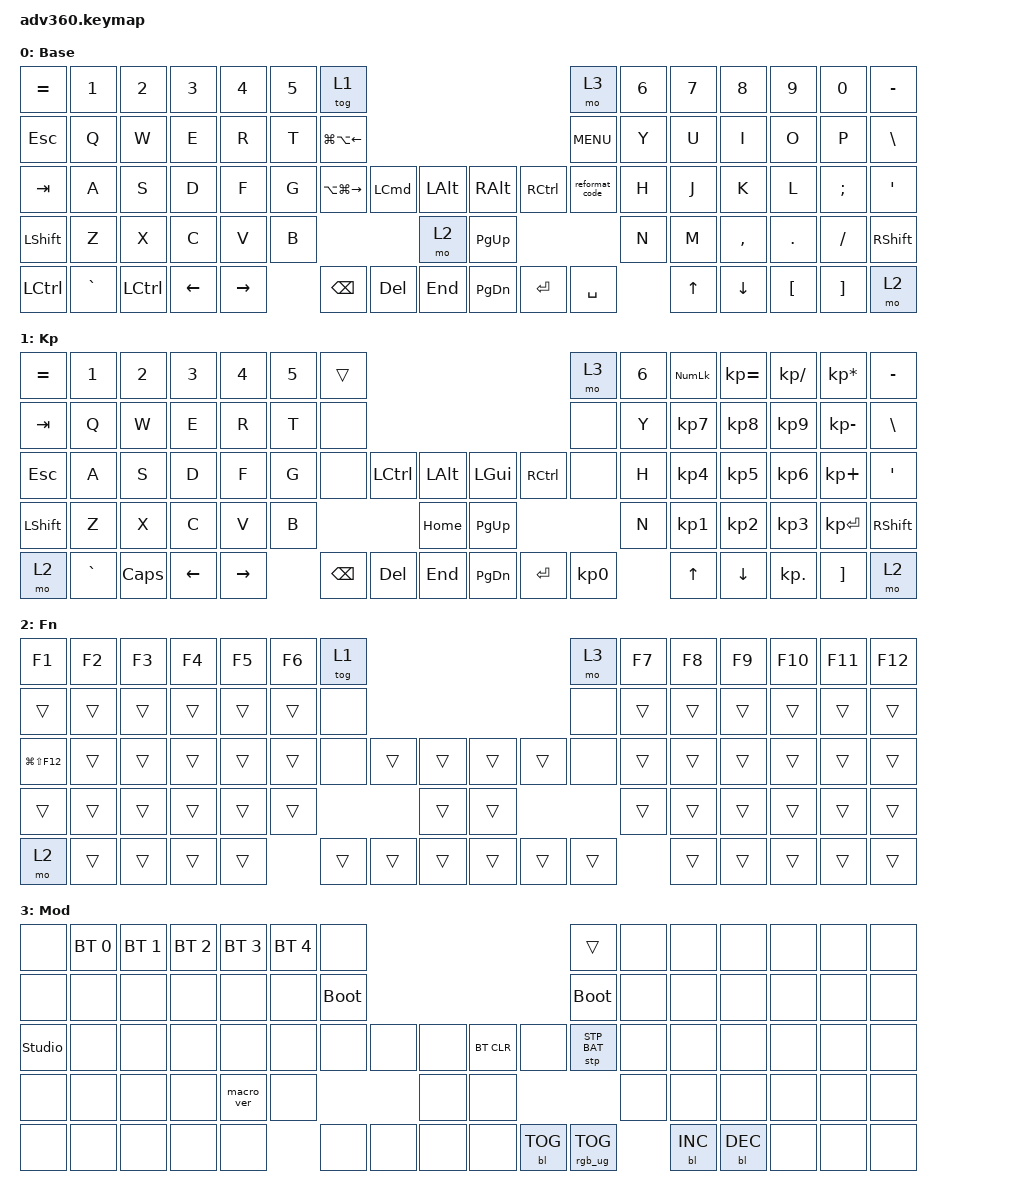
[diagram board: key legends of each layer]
#include <dt-bindings/zmk/stp.h>
#include <behaviors.dtsi>
#include <dt-bindings/zmk/backlight.h>
#include <dt-bindings/zmk/bt.h>
#include <dt-bindings/zmk/keys.h>
#include <dt-bindings/zmk/rgb.h>

/ {
    behaviors {
        #include "macros.dtsi"
      #include "version.dtsi"

        hm: homerow_mods {
            compatible = "zmk,behavior-hold-tap";
            label = "HOMEROW_MODS";
            #binding-cells = <2>;
            tapping-term-ms = <200>;
            quick_tap_ms = <175>;
            flavor = "tap-preferred";
            bindings = <&kp>, <&kp>;
        };

        hold_tap_behavior: hold_tap_behavior {
            compatible = "zmk,behavior-hold-tap";
            label = "HOLD_TAP_BEHAVIOR";
            bindings = <&kp>, <&kp>;

            #binding-cells = <2>;
            tapping-term-ms = <200>;
        };
    };

    macros {
        control_tab: control_tab {
            compatible = "zmk,behavior-macro";
            #binding-cells = <0>;
            bindings = <&hold_tap_behavior LEFT_CONTROL TAB>;
            label = "CONTROL_TAB";
        };

        reformat_code: reformat_code {
            compatible = "zmk,behavior-macro";
            #binding-cells = <0>;
            bindings = <&kp LA(LG(L))>;
            label = "REFORMAT_CODE";
        };
    };

    keymap {
        compatible = "zmk,keymap";

        default_layer {
            display-name = "Base";
            bindings = <
&kp EQUAL         &kp N1     &kp N2     &kp N3    &kp N4     &kp N5  &tog 1                                                                       &mo 3           &kp N6  &kp N7  &kp N8     &kp N9    &kp N0    &kp MINUS
&kp ESCAPE        &kp Q      &kp W      &kp E     &kp R      &kp T   &kp LG(LA(LEFT))                                                             &kp C_MENU      &kp Y   &kp U   &kp I      &kp O     &kp P     &kp BSLH
&kp TAB           &kp A      &kp S      &kp D     &kp F      &kp G   &kp LA(LG(RIGHT))  &kp LEFT_COMMAND  &kp LALT      &kp RIGHT_ALT  &kp RCTRL  &reformat_code  &kp H   &kp J   &kp K      &kp L     &kp SEMI  &kp SQT
&kp LSHFT         &kp Z      &kp X      &kp C     &kp V      &kp B                                        &mo 2         &kp PG_UP                                 &kp N   &kp M   &kp COMMA  &kp DOT   &kp FSLH  &kp RSHFT
&kp LEFT_CONTROL  &kp GRAVE  &kp LCTRL  &kp LEFT  &kp RIGHT          &kp BSPC           &kp DEL           &kp END       &kp PG_DN      &kp ENTER  &kp SPACE               &kp UP  &kp DOWN   &kp LBKT  &kp RBKT  &mo 2
            >;
        };

        keypad {
            display-name = "Kp";
            bindings = <
&kp EQUAL  &kp N1     &kp N2    &kp N3    &kp N4     &kp N5  &trans                                                   &mo 3      &kp N6  &kp KP_NUM  &kp KP_EQUAL  &kp KP_DIVIDE  &kp KP_MULTIPLY  &kp MINUS
&kp TAB    &kp Q      &kp W     &kp E     &kp R      &kp T   &none                                                    &none      &kp Y   &kp KP_N7   &kp KP_N8     &kp KP_N9      &kp KP_MINUS     &kp BSLH
&kp ESC    &kp A      &kp S     &kp D     &kp F      &kp G   &none     &kp LCTRL  &kp LALT      &kp LGUI   &kp RCTRL  &none      &kp H   &kp KP_N4   &kp KP_N5     &kp KP_N6      &kp KP_PLUS      &kp SQT
&kp LSHFT  &kp Z      &kp X     &kp C     &kp V      &kp B                        &kp HOME      &kp PG_UP                        &kp N   &kp KP_N1   &kp KP_N2     &kp KP_N3      &kp KP_ENTER     &kp RSHFT
&mo 2      &kp GRAVE  &kp CAPS  &kp LEFT  &kp RIGHT          &kp BSPC  &kp DEL    &kp END       &kp PG_DN  &kp ENTER  &kp KP_N0          &kp UP      &kp DOWN      &kp KP_DOT     &kp RBKT         &mo 2
            >;
        };

        fn {
            display-name = "Fn";
            bindings = <
&kp F1           &kp F2  &kp F3  &kp F4  &kp F5  &kp F6  &tog 1                                      &mo 3   &kp F7  &kp F8  &kp F9  &kp F10  &kp F11  &kp F12
&trans           &trans  &trans  &trans  &trans  &trans  &none                                       &none   &trans  &trans  &trans  &trans   &trans   &trans
&kp LG(LS(F12))  &trans  &trans  &trans  &trans  &trans  &none   &trans  &trans      &trans  &trans  &none   &trans  &trans  &trans  &trans   &trans   &trans
&trans           &trans  &trans  &trans  &trans  &trans                  &trans      &trans                  &trans  &trans  &trans  &trans   &trans   &trans
&mo 2            &trans  &trans  &trans  &trans          &trans  &trans  &trans      &trans  &trans  &trans          &trans  &trans  &trans   &trans   &trans
            >;
        };

        mod {
            display-name = "Mod";
            bindings = <
&none           &bt BT_SEL 0  &bt BT_SEL 1  &bt BT_SEL 2  &bt BT_SEL 3  &bt BT_SEL 4  &none                                                  &trans           &none  &none       &none       &none  &none  &none
&none           &none         &none         &none         &none         &none         &bootloader                                            &bootloader      &none  &none       &none       &none  &none  &none
&studio_unlock  &none         &none         &none         &none         &none         &none        &none  &none      &bt BT_CLR  &none       &stp STP_BAT     &none  &none       &none       &none  &none  &none
&none           &none         &none         &none         &macro_ver    &none                             &none      &none                                    &none  &none       &none       &none  &none  &none
&none           &none         &none         &none         &none                       &none        &none  &none      &none       &bl BL_TOG  &rgb_ug RGB_TOG         &bl BL_INC  &bl BL_DEC  &none  &none  &none
            >;
        };

        extra1 {
            display-name = "Red";
            status = "reserved";
        };

        extra2 {
            display-name = "Purple";
            status = "reserved";
        };

        extra3 {
            display-name = "Cyan";
            status = "reserved";
        };

        extra4 {
            display-name = "Yellow";
            status = "reserved";
        };
    };
};
